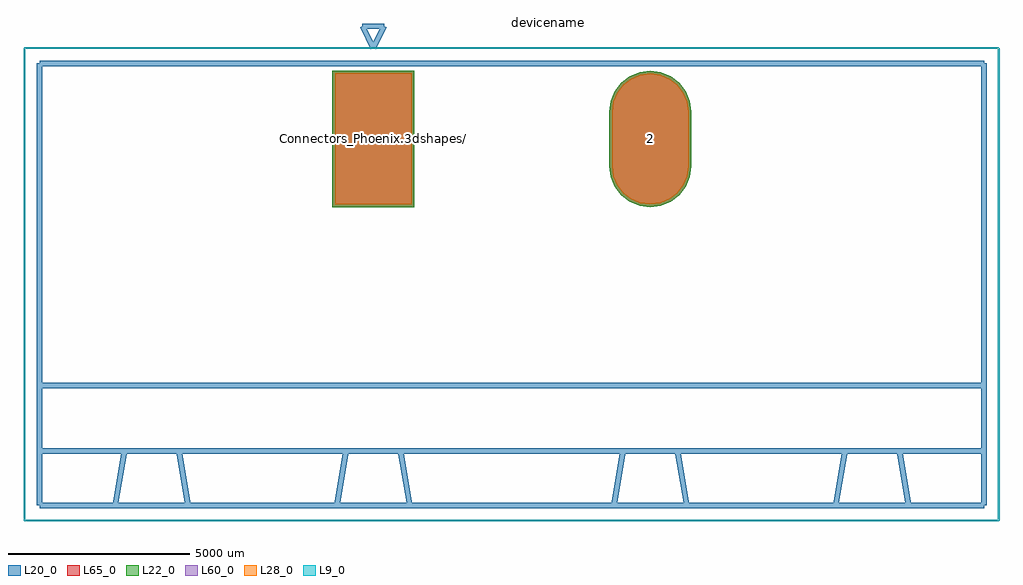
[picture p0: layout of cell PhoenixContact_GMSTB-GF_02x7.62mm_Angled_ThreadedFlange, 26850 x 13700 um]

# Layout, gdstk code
import gdstk
lib = gdstk.Library(unit=1e-6, precision=1e-09)
def R(c, l, rs):  # rectangles x0, y0, x1, y1
    for r in rs: c.add(gdstk.rectangle(r[:2], r[2:], *l))
def P(c, l, *ps):  # polygons
    for p in ps: c.add(gdstk.Polygon(p, *l))
L9_0 = (9, 0)
L20_0 = (20, 0)
L22_0 = (22, 0)
L28_0 = (28, 0)
L60_0 = (60, 0)
L65_0 = (65, 0)

phoenixcontact_gmstb_gf_ = lib.new_cell('PhoenixContact_GMSTB-GF_02x7.62mm_Angled_ThreadedFlange')
R(phoenixcontact_gmstb_gf_, L22_0, [(-1125,-1875,1125,1875)])
P(phoenixcontact_gmstb_gf_, L22_0, [(7620,-1875),(7911.171,-1836.667),(8182.5,-1724.279),(8415.495,-1545.495),(8594.279,-1312.5),(8706.667,-1041.171),(8745,-750),(8745,750),(8706.667,1041.171),(8594.279,1312.5),(8415.495,1545.495),(8182.5,1724.279),(7911.171,1836.667),(7620,1875),(7328.829,1836.667),(7057.5,1724.279),(6824.505,1545.495),(6645.721,1312.5),(6533.333,1041.171),(6495,750),(6495,-750),(6533.333,-1041.171),(6645.721,-1312.5),(6824.505,-1545.495),(7057.5,-1724.279),(7328.829,-1836.667)])
R(phoenixcontact_gmstb_gf_, L28_0, [(-1050,-1800,1050,1800)])
P(phoenixcontact_gmstb_gf_, L28_0, [(7620,-1800),(7891.76,-1764.222),(8145,-1659.327),(8362.462,-1492.462),(8529.327,-1275),(8634.222,-1021.76),(8670,-750),(8670,750),(8634.222,1021.76),(8529.327,1275),(8362.462,1492.462),(8145,1659.327),(7891.76,1764.222),(7620,1800),(7348.24,1764.222),(7095,1659.327),(6877.538,1492.462),(6710.673,1275),(6605.778,1021.76),(6570,750),(6570,-750),(6605.778,-1021.76),(6710.673,-1275),(6877.538,-1492.462),(7095,-1659.327),(7348.24,-1764.222)])
R(phoenixcontact_gmstb_gf_, L60_0, [(-1050,-1800,1050,1800)])
P(phoenixcontact_gmstb_gf_, L60_0, [(7620,-1800),(7891.76,-1764.222),(8145,-1659.327),(8362.462,-1492.462),(8529.327,-1275),(8634.222,-1021.76),(8670,-750),(8670,750),(8634.222,1021.76),(8529.327,1275),(8362.462,1492.462),(8145,1659.327),(7891.76,1764.222),(7620,1800),(7348.24,1764.222),(7095,1659.327),(6877.538,1492.462),(6710.673,1275),(6605.778,1021.76),(6570,750),(6570,-750),(6605.778,-1021.76),(6710.673,-1275),(6877.538,-1492.462),(7095,-1659.327),(7348.24,-1764.222)])
R(phoenixcontact_gmstb_gf_, L65_0, [(-1125,-1875,1125,1875)])
P(phoenixcontact_gmstb_gf_, L65_0, [(7620,-1875),(7911.171,-1836.667),(8182.5,-1724.279),(8415.495,-1545.495),(8594.279,-1312.5),(8706.667,-1041.171),(8745,-750),(8745,750),(8706.667,1041.171),(8594.279,1312.5),(8415.495,1545.495),(8182.5,1724.279),(7911.171,1836.667),(7620,1875),(7328.829,1836.667),(7057.5,1724.279),(6824.505,1545.495),(6645.721,1312.5),(6533.333,1041.171),(6495,750),(6495,-750),(6533.333,-1041.171),(6645.721,-1312.5),(6824.505,-1545.495),(7057.5,-1724.279),(7328.829,-1836.667)])
phoenixcontact_gmstb_gf_.add(gdstk.FlexPath([(-300,3100),(0,2500)], 149.998, ends="flush", simple_path=True, layer=20, datatype=0))  # L20_0
phoenixcontact_gmstb_gf_.add(gdstk.FlexPath([(300,3100),(-300,3100)], 149.998, ends="flush", simple_path=True, layer=20, datatype=0))  # L20_0
phoenixcontact_gmstb_gf_.add(gdstk.FlexPath([(0,2500),(300,3100)], 149.998, ends="flush", simple_path=True, layer=20, datatype=0))  # L20_0
phoenixcontact_gmstb_gf_.add(gdstk.FlexPath([(17200,2500),(-9600,2500)], 50, ends="flush", simple_path=True, layer=9, datatype=0))  # L9_0
phoenixcontact_gmstb_gf_.add(gdstk.FlexPath([(17200,-10500),(17200,2500)], 50, ends="flush", simple_path=True, layer=9, datatype=0))  # L9_0
phoenixcontact_gmstb_gf_.add(gdstk.FlexPath([(-9600,-10500),(17200,-10500)], 50, ends="flush", simple_path=True, layer=9, datatype=0))  # L9_0
phoenixcontact_gmstb_gf_.add(gdstk.FlexPath([(-9600,2500),(-9600,-10500)], 50, ends="flush", simple_path=True, layer=9, datatype=0))  # L9_0
phoenixcontact_gmstb_gf_.add(gdstk.FlexPath([(6870,-8580),(6620,-10080)], 149.998, ends="flush", simple_path=True, layer=20, datatype=0))  # L20_0
phoenixcontact_gmstb_gf_.add(gdstk.FlexPath([(8370,-8580),(6870,-8580)], 149.998, ends="flush", simple_path=True, layer=20, datatype=0))  # L20_0
phoenixcontact_gmstb_gf_.add(gdstk.FlexPath([(8620,-10080),(8370,-8580)], 149.998, ends="flush", simple_path=True, layer=20, datatype=0))  # L20_0
phoenixcontact_gmstb_gf_.add(gdstk.FlexPath([(6620,-10080),(8620,-10080)], 149.998, ends="flush", simple_path=True, layer=20, datatype=0))  # L20_0
phoenixcontact_gmstb_gf_.add(gdstk.FlexPath([(-750,-8580),(-1000,-10080)], 149.998, ends="flush", simple_path=True, layer=20, datatype=0))  # L20_0
phoenixcontact_gmstb_gf_.add(gdstk.FlexPath([(750,-8580),(-750,-8580)], 149.998, ends="flush", simple_path=True, layer=20, datatype=0))  # L20_0
phoenixcontact_gmstb_gf_.add(gdstk.FlexPath([(1000,-10080),(750,-8580)], 149.998, ends="flush", simple_path=True, layer=20, datatype=0))  # L20_0
phoenixcontact_gmstb_gf_.add(gdstk.FlexPath([(-1000,-10080),(1000,-10080)], 149.998, ends="flush", simple_path=True, layer=20, datatype=0))  # L20_0
phoenixcontact_gmstb_gf_.add(gdstk.FlexPath([(12970,-8580),(12720,-10080)], 149.998, ends="flush", simple_path=True, layer=20, datatype=0))  # L20_0
phoenixcontact_gmstb_gf_.add(gdstk.FlexPath([(14470,-8580),(12970,-8580)], 149.998, ends="flush", simple_path=True, layer=20, datatype=0))  # L20_0
phoenixcontact_gmstb_gf_.add(gdstk.FlexPath([(14720,-10080),(14470,-8580)], 149.998, ends="flush", simple_path=True, layer=20, datatype=0))  # L20_0
phoenixcontact_gmstb_gf_.add(gdstk.FlexPath([(12720,-10080),(14720,-10080)], 149.998, ends="flush", simple_path=True, layer=20, datatype=0))  # L20_0
phoenixcontact_gmstb_gf_.add(gdstk.FlexPath([(-6850,-8580),(-7100,-10080)], 149.998, ends="flush", simple_path=True, layer=20, datatype=0))  # L20_0
phoenixcontact_gmstb_gf_.add(gdstk.FlexPath([(-5350,-8580),(-6850,-8580)], 149.998, ends="flush", simple_path=True, layer=20, datatype=0))  # L20_0
phoenixcontact_gmstb_gf_.add(gdstk.FlexPath([(-5100,-10080),(-5350,-8580)], 149.998, ends="flush", simple_path=True, layer=20, datatype=0))  # L20_0
phoenixcontact_gmstb_gf_.add(gdstk.FlexPath([(-7100,-10080),(-5100,-10080)], 149.998, ends="flush", simple_path=True, layer=20, datatype=0))  # L20_0
phoenixcontact_gmstb_gf_.add(gdstk.FlexPath([(16800,-8580),(-9180,-8580)], 149.998, ends="flush", simple_path=True, layer=20, datatype=0))  # L20_0
phoenixcontact_gmstb_gf_.add(gdstk.FlexPath([(16800,-6780),(16800,-8580)], 149.998, ends="flush", simple_path=True, layer=20, datatype=0))  # L20_0
phoenixcontact_gmstb_gf_.add(gdstk.FlexPath([(-9180,-6780),(16800,-6780)], 149.998, ends="flush", simple_path=True, layer=20, datatype=0))  # L20_0
phoenixcontact_gmstb_gf_.add(gdstk.FlexPath([(-9180,-8580),(-9180,-6780)], 149.998, ends="flush", simple_path=True, layer=20, datatype=0))  # L20_0
phoenixcontact_gmstb_gf_.add(gdstk.FlexPath([(16800,2080),(-9180,2080)], 149.998, ends="flush", simple_path=True, layer=20, datatype=0))  # L20_0
phoenixcontact_gmstb_gf_.add(gdstk.FlexPath([(16800,-10080),(16800,2080)], 149.998, ends="flush", simple_path=True, layer=20, datatype=0))  # L20_0
phoenixcontact_gmstb_gf_.add(gdstk.FlexPath([(-9180,-10080),(16800,-10080)], 149.998, ends="flush", simple_path=True, layer=20, datatype=0))  # L20_0
phoenixcontact_gmstb_gf_.add(gdstk.FlexPath([(-9180,2080),(-9180,-10080)], 149.998, ends="flush", simple_path=True, layer=20, datatype=0))  # L20_0
phoenixcontact_gmstb_gf_.add(gdstk.Label('Connectors_Phoenix.3dshapes/PhoenixContact_GMSTB-GF_02x7.62mm_Angled_ThreadedFlange.wrl', (0,0), layer=12, texttype=0))
phoenixcontact_gmstb_gf_.add(gdstk.Label('2', (7620,0), layer=28, texttype=0))
phoenixcontact_gmstb_gf_.add(gdstk.Label('1', (0,0), layer=28, texttype=0))
phoenixcontact_gmstb_gf_.add(gdstk.Label('type', (3810,-11500), layer=9, texttype=0))
phoenixcontact_gmstb_gf_.add(gdstk.Label('devicename', (4810,3200), layer=9, texttype=0))

lib.write_gds('PhoenixContact_GMSTB-GF_02x7.62mm_Angled_ThreadedFlange.gds')
